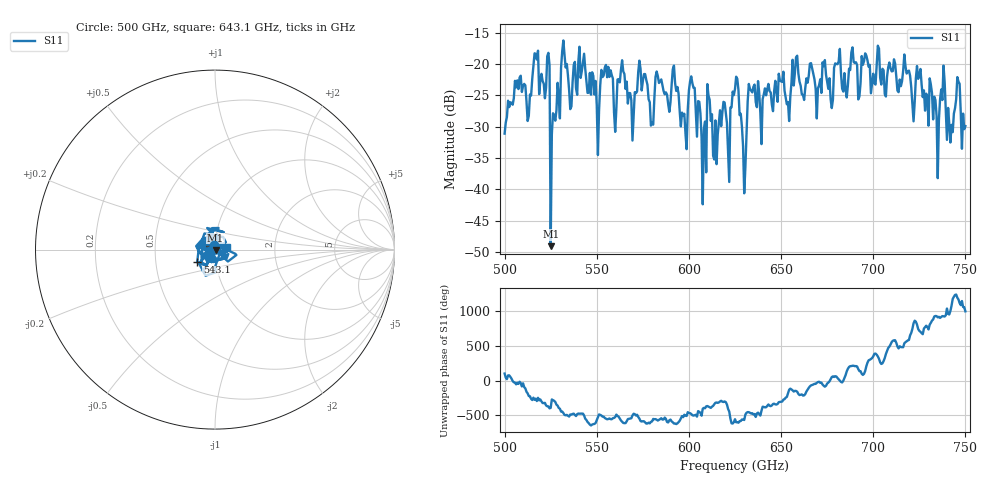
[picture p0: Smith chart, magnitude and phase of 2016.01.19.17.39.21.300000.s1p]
!Created with skrf (http://scikit-rf.org).
# GHz S RI R 50.0
!freq ReS11 ImS11
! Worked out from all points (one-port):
!   401 points, 500 GHz to 750 GHz, reference 50 ohm
!   lowest |S11| = -49.1 dB at 525 GHz (marker M1), VSWR 1.01, Z = 50.3 - j0.205 ohm
!   |S11| at or under -10 dB: start of sweep to end of sweep
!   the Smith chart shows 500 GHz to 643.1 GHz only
!   S11 on the Smith chart (normalised r, x): 500 GHz: 0.99, +0.05; 543.1 GHz: 0.81, -0.12; 643.1 GHz: 1.14, +0.04
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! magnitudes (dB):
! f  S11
! 500 GHz  -31.1
! 506.9 GHz  -22.6
! 513.1 GHz  -28.3
! 516.9 GHz  -18.4
! 523.1 GHz  -18.7
! 525 GHz  -49.1
! 526.2 GHz  -27.8
! 531.2 GHz  -17.9
! 543.1 GHz  -18.3
! 550 GHz  -26.6
! 562.5 GHz  -22.9
! 568.8 GHz  -25.8
! 573.8 GHz  -20.7
! 593.8 GHz  -23.6
! 598.1 GHz  -31.1
! 601.9 GHz  -23.1
! 608.1 GHz  -30.4
! 611.2 GHz  -25.7
! 614.4 GHz  -29.0
! 621.9 GHz  -38.8
! 625 GHz  -24.0
! 630 GHz  -40.6
! 633.1 GHz  -24.0
! 643.1 GHz  -23.2
! 656.2 GHz  -19.3
! 687.5 GHz  -21.0
! 718.8 GHz  -21.2
! 750 GHz  -29.9
